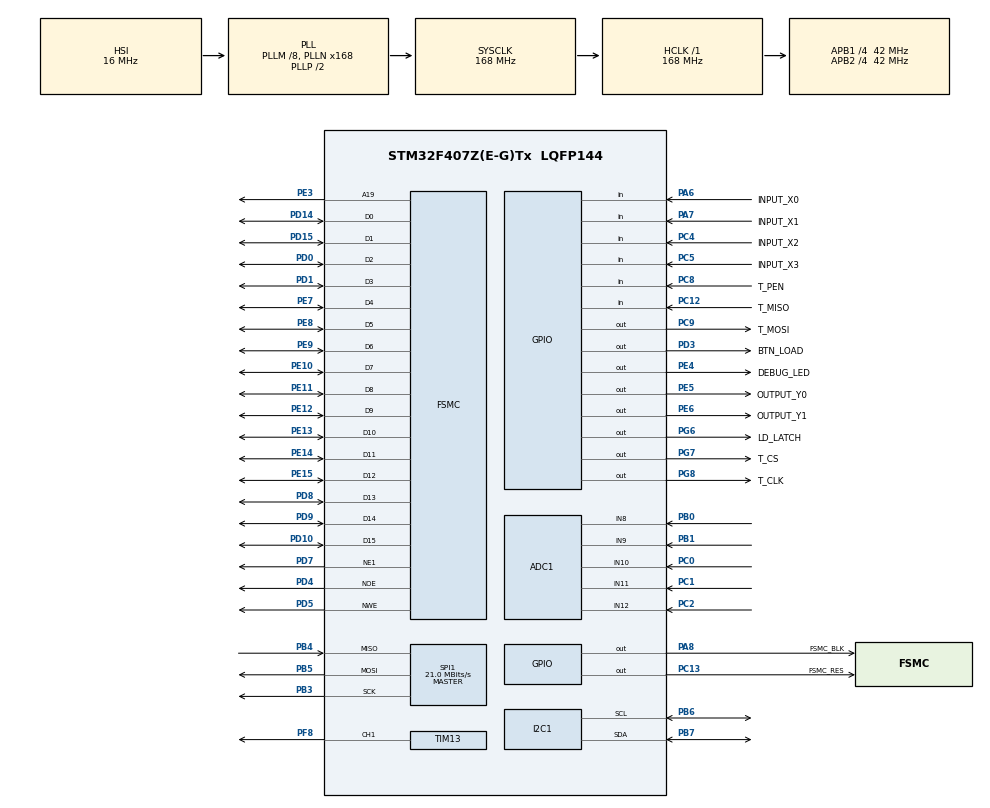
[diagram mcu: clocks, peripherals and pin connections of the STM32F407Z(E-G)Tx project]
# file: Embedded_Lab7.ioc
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ADC1.Channel-0\#ChannelRegularConversion=ADC_CHANNEL_8
ADC1.Channel-1\#ChannelRegularConversion=ADC_CHANNEL_9
ADC1.Channel-2\#ChannelRegularConversion=ADC_CHANNEL_10
ADC1.Channel-3\#ChannelRegularConversion=ADC_CHANNEL_11
ADC1.Channel-4\#ChannelRegularConversion=ADC_CHANNEL_12
ADC1.NbrOfConversion=5
ADC1.NbrOfConversionFlag=1
ADC1.Rank-0\#ChannelRegularConversion=1
ADC1.Rank-1\#ChannelRegularConversion=2
ADC1.Rank-2\#ChannelRegularConversion=3
ADC1.Rank-3\#ChannelRegularConversion=4
ADC1.Rank-4\#ChannelRegularConversion=5
ADC1.SamplingTime-0\#ChannelRegularConversion=ADC_SAMPLETIME_3CYCLES
ADC1.SamplingTime-1\#ChannelRegularConversion=ADC_SAMPLETIME_3CYCLES
ADC1.SamplingTime-2\#ChannelRegularConversion=ADC_SAMPLETIME_3CYCLES
ADC1.SamplingTime-3\#ChannelRegularConversion=ADC_SAMPLETIME_3CYCLES
ADC1.SamplingTime-4\#ChannelRegularConversion=ADC_SAMPLETIME_3CYCLES
ADC1.ScanConvMode=ENABLE
ADC1.master=1
Dma.ADC1.0.Direction=DMA_PERIPH_TO_MEMORY
Dma.ADC1.0.FIFOMode=DMA_FIFOMODE_DISABLE
Dma.ADC1.0.Instance=DMA2_Stream0
Dma.ADC1.0.MemDataAlignment=DMA_MDATAALIGN_HALFWORD
Dma.ADC1.0.MemInc=DMA_MINC_ENABLE
Dma.ADC1.0.Mode=DMA_CIRCULAR
Dma.ADC1.0.PeriphDataAlignment=DMA_PDATAALIGN_HALFWORD
Dma.ADC1.0.PeriphInc=DMA_PINC_DISABLE
Dma.ADC1.0.Priority=DMA_PRIORITY_LOW
Dma.Request0=ADC1
FSMC.AddressSetupTime1=0xf
FSMC.BusTurnAroundDuration1=0
FSMC.DataSetupTime1=60
FSMC.ExtendedAddressSetupTime1=8
FSMC.ExtendedBusTurnAroundDuration1=0
FSMC.ExtendedDataSetupTime1=9
FSMC.ExtendedMode1=FSMC_EXTENDED_MODE_ENABLE
Mcu.Family=STM32F4
Mcu.Name=STM32F407Z(E-G)Tx
Mcu.Package=LQFP144
NVIC.DMA2_Stream0_IRQn=true\:0\:0\:false\:false\:true\:false\:true
NVIC.PriorityGroup=NVIC_PRIORITYGROUP_4
NVIC.TIM2_IRQn=true\:0\:0\:false\:false\:true\:true\:true
PA13.Mode=Serial_Wire
PA13.Signal=SYS_JTMS-SWDIO
PA14.Mode=Serial_Wire
PA14.Signal=SYS_JTCK-SWCLK
PA6.GPIO_Label=INPUT_X0
PA6.Signal=GPIO_Input
PA7.GPIO_Label=INPUT_X1
PA7.Signal=GPIO_Input
PA8.GPIO_Label=FSMC_BLK
PA8.Signal=GPIO_Output
PB0.Signal=ADCx_IN8
PB1.Signal=ADCx_IN9
PB3.Mode=Full_Duplex_Master
PB3.Signal=SPI1_SCK
PB4.Mode=Full_Duplex_Master
PB4.Signal=SPI1_MISO
PB5.Mode=Full_Duplex_Master
PB5.Signal=SPI1_MOSI
PB6.Mode=I2C
PB6.Signal=I2C1_SCL
PB7.Mode=I2C
PB7.Signal=I2C1_SDA
PC0.Signal=ADCx_IN10
PC1.Signal=ADCx_IN11
PC12.GPIO_Label=T_MISO
PC12.GPIO_PuPd=GPIO_PULLUP
PC12.Signal=GPIO_Input
PC13-ANTI_TAMP.GPIO_Label=FSMC_RES
PC13-ANTI_TAMP.Signal=GPIO_Output
PC2.Signal=ADCx_IN12
PC4.GPIO_Label=INPUT_X2
PC4.Signal=GPIO_Input
PC5.GPIO_Label=INPUT_X3
PC5.Signal=GPIO_Input
PC8.GPIO_Label=T_PEN
PC8.GPIO_PuPd=GPIO_PULLUP
PC8.Signal=GPIO_Input
PC9.GPIO_Label=T_MOSI
PC9.Signal=GPIO_Output
PD0.Signal=FSMC_D2_DA2
PD1.Signal=FSMC_D3_DA3
PD10.Signal=FSMC_D15_DA15
PD14.Signal=FSMC_D0_DA0
PD15.Signal=FSMC_D1_DA1
PD3.GPIO_Label=BTN_LOAD
PD3.Signal=GPIO_Output
PD4.Signal=FSMC_NOE
PD5.Signal=FSMC_NWE
PD7.Mode=NorPsramChipSelect1_1
PD7.Signal=FSMC_NE1
PD8.Signal=FSMC_D13_DA13
PD9.Signal=FSMC_D14_DA14
PE10.Signal=FSMC_D7_DA7
PE11.Signal=FSMC_D8_DA8
PE12.Signal=FSMC_D9_DA9
PE13.Signal=FSMC_D10_DA10
PE14.Signal=FSMC_D11_DA11
PE15.Signal=FSMC_D12_DA12
PE3.Signal=FSMC_A19
PE4.GPIO_Label=DEBUG_LED
PE4.Signal=GPIO_Output
PE5.GPIO_Label=OUTPUT_Y0
PE5.Signal=GPIO_Output
PE6.GPIO_Label=OUTPUT_Y1
PE6.Signal=GPIO_Output
PE7.Signal=FSMC_D4_DA4
PE8.Signal=FSMC_D5_DA5
PE9.Signal=FSMC_D6_DA6
PF8.Signal=S_TIM13_CH1
PG6.GPIO_Label=LD_LATCH
PG6.Signal=GPIO_Output
PG7.GPIO_Label=T_CS
PG7.Signal=GPIO_Output
PG8.GPIO_Label=T_CLK
PG8.Signal=GPIO_Output
PH0-OSC_IN.Mode=HSE-External-Oscillator
PH0-OSC_IN.Signal=RCC_OSC_IN
PH1-OSC_OUT.Mode=HSE-External-Oscillator
PH1-OSC_OUT.Signal=RCC_OSC_OUT
ProjectManager.HeapSize=0x200
ProjectManager.StackSize=0x400
ProjectManager.TargetToolchain=STM32CubeIDE
RCC.48MHZClocksFreq_Value=48000000
RCC.AHBFreq_Value=168000000
RCC.APB1CLKDivider=RCC_HCLK_DIV4
RCC.APB1Freq_Value=42000000
RCC.APB1TimFreq_Value=84000000
RCC.APB2CLKDivider=RCC_HCLK_DIV4
RCC.APB2Freq_Value=42000000
RCC.APB2TimFreq_Value=84000000
RCC.CortexFreq_Value=168000000
RCC.HCLKFreq_Value=168000000
RCC.HSE_VALUE=8000000
RCC.HSI_VALUE=16000000
RCC.LSE_VALUE=32768
RCC.PLLM=8
RCC.PLLN=168
RCC.PLLQ=7
RCC.SYSCLKFreq_VALUE=168000000
RCC.SYSCLKSource=RCC_SYSCLKSOURCE_PLLCLK
RCC.VCOOutputFreq_Value=336000000
SH.ADCx_IN10.0=ADC1_IN10,IN10
SH.ADCx_IN11.0=ADC1_IN11,IN11
SH.ADCx_IN12.0=ADC1_IN12,IN12
SH.ADCx_IN8.0=ADC1_IN8,IN8
SH.ADCx_IN9.0=ADC1_IN9,IN9
SH.FSMC_A19.0=FSMC_A19,A19_1
SH.FSMC_D0_DA0.0=FSMC_D0,16b-d1
SH.FSMC_D10_DA10.0=FSMC_D10,16b-d1
SH.FSMC_D11_DA11.0=FSMC_D11,16b-d1
SH.FSMC_D12_DA12.0=FSMC_D12,16b-d1
SH.FSMC_D13_DA13.0=FSMC_D13,16b-d1
SH.FSMC_D14_DA14.0=FSMC_D14,16b-d1
SH.FSMC_D15_DA15.0=FSMC_D15,16b-d1
SH.FSMC_D1_DA1.0=FSMC_D1,16b-d1
SH.FSMC_D2_DA2.0=FSMC_D2,16b-d1
SH.FSMC_D3_DA3.0=FSMC_D3,16b-d1
SH.FSMC_D4_DA4.0=FSMC_D4,16b-d1
SH.FSMC_D5_DA5.0=FSMC_D5,16b-d1
SH.FSMC_D6_DA6.0=FSMC_D6,16b-d1
SH.FSMC_D7_DA7.0=FSMC_D7,16b-d1
SH.FSMC_D8_DA8.0=FSMC_D8,16b-d1
SH.FSMC_D9_DA9.0=FSMC_D9,16b-d1
SH.FSMC_NOE.0=FSMC_NOE,Lcd1
SH.FSMC_NWE.0=FSMC_NWE,Lcd1
SH.S_TIM13_CH1.0=TIM13_CH1,PWM Generation1 CH1
SPI1.BaudRatePrescaler=SPI_BAUDRATEPRESCALER_2
SPI1.CalculateBaudRate=21.0 MBits/s
SPI1.Direction=SPI_DIRECTION_2LINES
SPI1.Mode=SPI_MODE_MASTER
SPI1.VirtualType=VM_MASTER
TIM1.Prescaler=84-1
TIM13.Channel=TIM_CHANNEL_1
TIM13.Period=100 - 1
TIM13.Prescaler=840 - 1
TIM2.Period=100-1 
TIM2.Prescaler=840-1 
VP_TIM13_VS_ClockSourceINT.Mode=Enable_Timer
VP_TIM1_VS_ClockSourceINT.Mode=Internal
VP_TIM2_VS_ClockSourceINT.Mode=Internal
board=custom

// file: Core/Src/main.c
/* USER CODE BEGIN Header */
/**
 ******************************************************************************
 * @file           : main.c
 * @brief          : Main program body
 ******************************************************************************
 * @attention
 *
 * <h2><center>&copy; Copyright (c) 2024 STMicroelectronics.
 * All rights reserved.</center></h2>
 *
 * This software component is licensed by ST under BSD 3-Clause license,
 * the "License"; You may not use this file except in compliance with the
 * License. You may obtain a copy of the License at:
 *                        opensource.org/licenses/BSD-3-Clause
 *
 ******************************************************************************
 */
/* USER CODE END Header */
#include "main.h"
#include "adc.h"
#include "dma.h"
#include "i2c.h"
#include "spi.h"
#include "tim.h"
#include "gpio.h"
#include "fsmc.h"

/* USER CODE BEGIN Includes */
#include "software_timer.h"
#include "led_7seg.h"
#include "button.h"
#include "lcd.h"
#include "picture.h"
#include "ds3231.h"
#include "sensor.h"
#include "buzzer.h"
#include "touch.h"
#include "time.h"
/* USER CODE END Includes */

/* USER CODE BEGIN PD */
#define SNAKE_MAX_SIZE 50

#define X0 0
#define Y0 0
#define X1 4
#define Y1 4
#define X2 236
#define Y2 216
#define X3 240
#define Y3 219
#define RADIUS 5

struct Point
{
	uint16_t x, y, color;
};

enum Direction
{
	up,
	down,
	left,
	right
};

struct Snake
{
	struct Point node[SNAKE_MAX_SIZE];
	uint8_t len;
	enum Direction direction;
};
/* USER CODE END PD */

/* USER CODE BEGIN PV */

uint8_t newNode = 1;
struct Snake snake;
struct Point food;

/* USER CODE END PV */

void SystemClock_Config(void);
/* USER CODE BEGIN PFP */
void system_init();

uint8_t isStartPressed();
uint8_t isUpButtonPressed();
uint8_t isDownButtonPressed();
uint8_t isLeftButtonPressed();
uint8_t isRightButtonPressed();

double calculateDistance(uint16_t, uint16_t, uint16_t, uint16_t);
void createFood();
void drawGameFrame();
void updateSnakePosition();
uint8_t checkCollision();
void handleFoodConsumption();
void initNode(uint8_t index, uint16_t x, uint16_t y, uint16_t color);
void initializeGame();
void display();
void displayStartScreen();
void handleInput();
uint8_t gameTick();
void play();
/* USER CODE END PFP */

int main(void)
{

	/* MCU Configuration--------------------------------------------------------*/

	/* Reset of all peripherals, Initializes the Flash interface and the Systick. */
	HAL_Init();

	/* Configure the system clock */
	SystemClock_Config();

	/* Initialize all configured peripherals */
	MX_GPIO_Init();
	MX_SPI1_Init();
	MX_TIM2_Init();
	MX_FSMC_Init();
	MX_DMA_Init();
	MX_ADC1_Init();
	MX_I2C1_Init();
	MX_TIM13_Init();
	MX_TIM1_Init();
	/* USER CODE BEGIN 2 */
	system_init();
	//  touch_Adjust();
	lcd_Clear(BLACK);

	uint8_t isPlaying = 0;
	/* USER CODE END 2 */

	/* Infinite loop */
	/* USER CODE BEGIN WHILE */

	while (1)
	{

		if (!isPlaying)
		{
			// draw start button
			lcd_Clear(WHITE);
//			play();
			displayStartScreen();
			isPlaying = 1;
		}
		else
		{
			// play game or not
			// read screen
			//&& isStartPress()
			touch_Scan();
			if (touch_IsTouched() && isStartPressed())
			{
				lcd_Clear(WHITE);
				play();
				isPlaying = 0;
			}
		}
		HAL_Delay(20);

		/* USER CODE END WHILE */

	}
}

void SystemClock_Config(void)
{
	RCC_OscInitTypeDef RCC_OscInitStruct = {0};
	RCC_ClkInitTypeDef RCC_ClkInitStruct = {0};

	/** Configure the main internal regulator output voltage
	 */
	__HAL_RCC_PWR_CLK_ENABLE();
	__HAL_PWR_VOLTAGESCALING_CONFIG(PWR_REGULATOR_VOLTAGE_SCALE1);
	/** Initializes the RCC Oscillators according to the specified parameters
	 * in the RCC_OscInitTypeDef structure.
	 */
	RCC_OscInitStruct.OscillatorType = RCC_OSCILLATORTYPE_HSI;
	RCC_OscInitStruct.HSIState = RCC_HSI_ON;
	RCC_OscInitStruct.HSICalibrationValue = RCC_HSICALIBRATION_DEFAULT;
	RCC_OscInitStruct.PLL.PLLState = RCC_PLL_ON;
	RCC_OscInitStruct.PLL.PLLSource = RCC_PLLSOURCE_HSI;
	RCC_OscInitStruct.PLL.PLLM = 8;
	RCC_OscInitStruct.PLL.PLLN = 168;
	RCC_OscInitStruct.PLL.PLLP = RCC_PLLP_DIV2;
	RCC_OscInitStruct.PLL.PLLQ = 7;
	if (HAL_RCC_OscConfig(&RCC_OscInitStruct) != HAL_OK)
	{
		Error_Handler();
	}
	/** Initializes the CPU, AHB and APB buses clocks
	 */
	RCC_ClkInitStruct.ClockType = RCC_CLOCKTYPE_HCLK | RCC_CLOCKTYPE_SYSCLK | RCC_CLOCKTYPE_PCLK1 | RCC_CLOCKTYPE_PCLK2;
	RCC_ClkInitStruct.SYSCLKSource = RCC_SYSCLKSOURCE_PLLCLK;
	RCC_ClkInitStruct.AHBCLKDivider = RCC_SYSCLK_DIV1;
	RCC_ClkInitStruct.APB1CLKDivider = RCC_HCLK_DIV4;
	RCC_ClkInitStruct.APB2CLKDivider = RCC_HCLK_DIV4;

	if (HAL_RCC_ClockConfig(&RCC_ClkInitStruct, FLASH_LATENCY_5) != HAL_OK)
	{
		Error_Handler();
	}
}

/* USER CODE BEGIN 4 */
void system_init()
{
	timer_init();
	button_init();
	lcd_init();
	touch_init();
	setTimer2(10);
}

uint8_t count_led_debug = 0;

uint8_t isButtonClear()
{
	if (!touch_IsTouched())
		return 0;
	return touch_GetX() > 60 && touch_GetX() < 180 &&
				 touch_GetY() > 10 && touch_GetY() < 60;
}

uint8_t isStartPressed()
{
    // Kiểm tra nếu không có thao tác chạm, trả về 0
    if (!touch_IsTouched())
        return 0;

    // Lấy tọa độ cảm ứng
    uint16_t touchX = touch_GetX();
    uint16_t touchY = touch_GetY();

    // Kiểm tra tọa độ nằm trong phạm vi nút "Start"
    if (touchX > 40 && touchX < 200 && touchY > 100 && touchY < 220)
        return 1;

    return 0;
}

uint8_t isUpButtonPressed()
{
	return touch_GetX() >= 140 && touch_GetX() <= 180 &&
				 touch_GetY() >= 222 && touch_GetY() <= 262;
}

uint8_t isDownButtonPressed()
{
	return touch_GetX() >= 140 && touch_GetX() <= 180 &&
				 touch_GetY() >= 272 && touch_GetY() <= 312;
}

uint8_t isLeftButtonPressed()
{
	// 74 <= x <= 101
	// 270 <= y <= 297
	return touch_GetX() >= 90 && touch_GetX() <= 130 &&
				 touch_GetY() >= 272 && touch_GetY() <= 312;
}

uint8_t isRightButtonPressed()
{
	// 130 <= x <= 157
	// 270 <= y <= 297
	return touch_GetX() >= 190 && touch_GetX() <= 230 &&
				 touch_GetY() >= 272 && touch_GetY() <= 312;
}

double calculateDistance(uint16_t x1, uint16_t y1, uint16_t x2, uint16_t y2)
{
    // Tính toán hiệu giữa các tọa độ
    int16_t dx = x1 - x2;
    int16_t dy = y1 - y2;

    // Tính toán khoảng cách theo công thức Euclidean và trả về kết quả
    return sqrt(dx * dx + dy * dy);
}

void createFood()
{
    // Giới hạn vị trí ngẫu nhiên trong khoảng từ X1 + RADIUS đến X2 - RADIUS (để tránh bị ra ngoài khung)
    food.x = (rand() % (X2 - X1 - 2 * RADIUS + 1)) + (X1 + RADIUS);
    food.y = (rand() % (Y2 - Y1 - 2 * RADIUS + 1)) + (Y1 + RADIUS);
    // Gán màu cho con mồi
    food.color = RED;
}

void drawGameFrame()
{
    // Draw game boundary frame
    lcd_Fill(X0, Y0, X3, Y1, GRAY); // Top boundary
    lcd_Fill(X0, Y2, X3, Y3, GRAY); // Bottom boundary
    lcd_Fill(X0, Y0, X1, Y3, GRAY); // Left boundary
    lcd_Fill(X2, Y0, X3, Y3, GRAY); // Right boundary

    // Render  buttons
    lcd_Fill(140, 222, 180, 262, RED); // Up button
    lcd_Fill(140, 272, 180, 312, RED); // Down button
    lcd_Fill(90, 272, 130, 312, RED);  // Left button
    lcd_Fill(190, 272, 230, 312, RED); // Right button

    // Display the score label and initial value
    lcd_ShowStr(4, 222, "Score:", BLACK, WHITE, 16, 1); // "Score:" label
    lcd_ShowIntNum(50, 222, 0, 3, BLACK, WHITE, 16);    // Initial score value: 0
}

void initNode(uint8_t index, uint16_t x, uint16_t y, uint16_t color)
{
    snake.node[index].x = x;
    snake.node[index].y = y;
    snake.node[index].color = color;
}

void initializeGame()
{
    // Khởi tạo độ dài rắn và hướng di chuyển
    snake.len = 2;
    snake.direction = right;

    // Khởi tạo các node của rắn
    initNode(0, X1 + 3 * RADIUS + 2, Y1 + RADIUS + 1, BLACK); // Head node
    initNode(newNode, X1 + RADIUS + 1, Y1 + RADIUS + 1, WHITE); // Clear node

    // Khởi tạo con mồi
    createFood();
}

void display()
{
	// ve con ran
	for (uint8_t i = 0; i < snake.len; i++)
	{
		lcd_DrawCircle(snake.node[i].x, snake.node[i].y, snake.node[i].color, RADIUS, 1);
	}

	// ve con moi
	lcd_DrawCircle(food.x, food.y, food.color, RADIUS, 1);
}

void displayStartScreen() {
    lcd_Fill(40, 100, 200, 220, BLACK);
    lcd_ShowStr(90, 145, "START", WHITE, BLACK, 24, 1);
}

void handleInput()
{
	// nhan 4 nut dieu huong

	// doc man hinh
	touch_Scan();

	if (touch_IsTouched())
	{
		if (isUpButtonPressed() && snake.direction != down)
		{
			snake.direction = up;
		}
		else if (isDownButtonPressed() && snake.direction != up)
		{
			snake.direction = down;
		}
		else if (isLeftButtonPressed() && snake.direction != right)
		{
			snake.direction = left;
		}
		else if (isRightButtonPressed() && snake.direction != left)
		{
			snake.direction = right;
		}
	}
}

void updateSnakePosition()
{
    // Cập nhật vị trí các node của con rắn, di chuyển từ cuối lên đầu
    for (uint8_t i = snake.len - 1; i > 0; i--)
    {
        snake.node[i].x = snake.node[i - 1].x;	// Sao chép vị trí của node trước cho node hiện tại
        snake.node[i].y = snake.node[i - 1].y;
    }

    // Cập nhật vị trí đầu con rắn dựa trên hướng di chuyển
    int8_t deltaX = 0, deltaY = 0;

    switch (snake.direction)
    {
        case up:    deltaY = -(2 * RADIUS + 1); break;
        case down:  deltaY = (2 * RADIUS + 1); break;
        case left:  deltaX = -(2 * RADIUS + 1); break;
        case right: deltaX = (2 * RADIUS + 1); break;
        default:    break;
    }

    // Cập nhật vị trí đầu con rắn
    if(deltaX) snake.node[0].x += deltaX;
    if(deltaY) snake.node[0].y += deltaY;
}

uint8_t checkCollision() {
    // Kiểm tra va chạm với biên
    if (snake.node[0].x < X1 - 2 * RADIUS || snake.node[0].x > X2 + 2 * RADIUS ||
        snake.node[0].y < Y1 - 2 * RADIUS || snake.node[0].y > Y2 + 2 * RADIUS) {
        return 1; // Va chạm với biên
    }

    // Kiểm tra va chạm với chính mình (trừ nút cần xóa)
    for (uint8_t i = 1; i < snake.len - 1; i++) {
        if (snake.node[i].x == snake.node[0].x && snake.node[i].y == snake.node[0].y) {
            return 1; // Va chạm với chính mình
        }
    }

    return 0; // Không có va chạm
}

void handleFoodConsumption() {
    // Kiểm tra khoảng cách giữa đầu rắn và con mồi
    if (calculateDistance(snake.node[0].x, snake.node[0].y, food.x, food.y) < 2 * RADIUS) {
        // Tăng độ dài của rắn
        snake.len++;

        // Xóa con mồi cũ khỏi màn hình
        lcd_DrawCircle(food.x, food.y, WHITE, RADIUS, 1);
        snake.node[0].color = BLACK;

        // Cập nhật node cũ thành node thường
        snake.node[newNode].color = BLACK;

        // Tạo node mới cho rắn
        snake.node[snake.len - 1] = snake.node[newNode];
        snake.node[snake.len - 1].color = WHITE;

        // Cập nhật vị trí node mới dựa vào hướng di chuyển
        int16_t offset = 2 * RADIUS + 1; // Khoảng cách dịch chuyển
        switch (snake.direction) {
            case up:
                snake.node[snake.len - 1].y += offset;
                break;
            case down:
                snake.node[snake.len - 1].y -= offset;
                break;
            case left:
                snake.node[snake.len - 1].x += offset;
                break;
            case right:
                snake.node[snake.len - 1].x -= offset;
                break;
            default:
                break;
        }

        // Cập nhật chỉ số node mới
        newNode = snake.len - 1;

        // Hiển thị điểm số (số node trừ 2 để bỏ qua đầu và đuôi mặc định)
        lcd_ShowIntNum(50, 222, snake.len - 2, 3, BLUE, WHITE, 16);

        // Tạo con mồi mới
        createFood();
    }
}

uint8_t gameTick()
{
	updateSnakePosition();

	if(checkCollision()) return 1;

	handleFoodConsumption();

	return 0;
}

uint8_t counter = 50;

void play()
{
	// draw game frame
	drawGameFrame();

	//create snake with food
	initializeGame();
	while (1)
	{
		if (flag_timer2)
		{
			setTimer2(10);

			if (counter <= 0)
			{
				//draw snake with food
				display();
			}

			// dieu khien
			handleInput();

			if (counter <= 0)
			{
				counter = 50;
				//handle
				if (gameTick())
				{
					break;
				}
			}
			counter--;
		}
	}
}
/* USER CODE END 4 */

void Error_Handler(void)
{
	__disable_irq();
	while (1)
	{
	}
}

/************************ (C) COPYRIGHT STMicroelectronics *****END OF FILE****/
